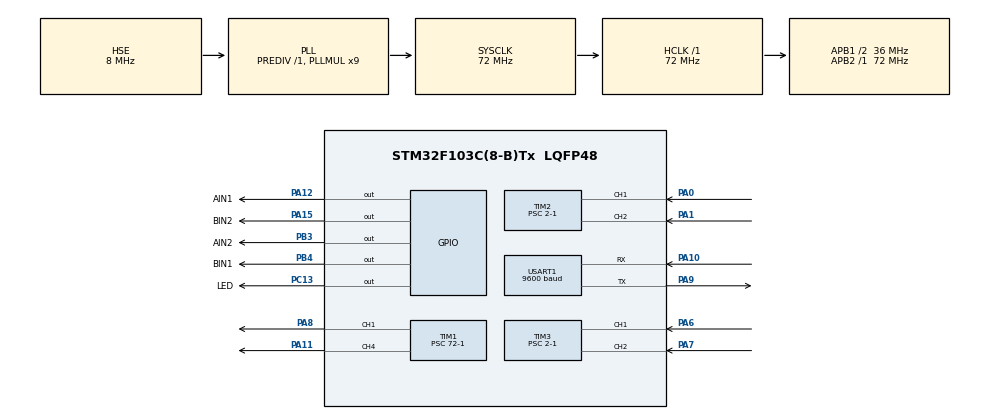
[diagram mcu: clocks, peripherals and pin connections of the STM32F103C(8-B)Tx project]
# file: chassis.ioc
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Dma.Request0=USART1_RX
Dma.Request1=USART1_TX
Dma.USART1_RX.0.Direction=DMA_PERIPH_TO_MEMORY
Dma.USART1_RX.0.Instance=DMA1_Channel5
Dma.USART1_RX.0.MemDataAlignment=DMA_MDATAALIGN_BYTE
Dma.USART1_RX.0.MemInc=DMA_MINC_ENABLE
Dma.USART1_RX.0.Mode=DMA_NORMAL
Dma.USART1_RX.0.PeriphDataAlignment=DMA_PDATAALIGN_BYTE
Dma.USART1_RX.0.PeriphInc=DMA_PINC_DISABLE
Dma.USART1_RX.0.Priority=DMA_PRIORITY_LOW
Dma.USART1_TX.1.Direction=DMA_MEMORY_TO_PERIPH
Dma.USART1_TX.1.Instance=DMA1_Channel4
Dma.USART1_TX.1.MemDataAlignment=DMA_MDATAALIGN_BYTE
Dma.USART1_TX.1.MemInc=DMA_MINC_ENABLE
Dma.USART1_TX.1.Mode=DMA_NORMAL
Dma.USART1_TX.1.PeriphDataAlignment=DMA_PDATAALIGN_BYTE
Dma.USART1_TX.1.PeriphInc=DMA_PINC_DISABLE
Dma.USART1_TX.1.Priority=DMA_PRIORITY_LOW
Mcu.Family=STM32F1
Mcu.Name=STM32F103C(8-B)Tx
Mcu.Package=LQFP48
NVIC.DMA1_Channel4_IRQn=true\:0\:0\:false\:false\:true\:false\:true\:true
NVIC.DMA1_Channel5_IRQn=true\:0\:0\:false\:false\:true\:false\:true\:true
NVIC.PriorityGroup=NVIC_PRIORITYGROUP_4
NVIC.TIM1_UP_IRQn=true\:0\:0\:false\:false\:true\:true\:true\:true
NVIC.TIM2_IRQn=true\:0\:0\:false\:false\:true\:true\:true\:true
NVIC.TIM3_IRQn=true\:0\:0\:false\:false\:true\:true\:true\:true
NVIC.USART1_IRQn=true\:0\:0\:false\:false\:true\:true\:true\:true
PA0-WKUP.Signal=S_TIM2_CH1_ETR
PA1.Signal=S_TIM2_CH2
PA10.Mode=Asynchronous
PA10.Signal=USART1_RX
PA11.Signal=S_TIM1_CH4
PA12.GPIO_Label=AIN1
PA12.Signal=GPIO_Output
PA13.Mode=Serial_Wire
PA13.Signal=SYS_JTMS-SWDIO
PA14.Mode=Serial_Wire
PA14.Signal=SYS_JTCK-SWCLK
PA15.GPIO_Label=BIN2
PA15.Signal=GPIO_Output
PA6.Signal=S_TIM3_CH1
PA7.Signal=S_TIM3_CH2
PA8.Signal=S_TIM1_CH1
PA9.Mode=Asynchronous
PA9.Signal=USART1_TX
PB3.GPIO_Label=AIN2
PB3.Signal=GPIO_Output
PB4.GPIO_Label=BIN1
PB4.Signal=GPIO_Output
PC13-TAMPER-RTC.GPIO_Label=LED
PC13-TAMPER-RTC.Signal=GPIO_Output
PD0-OSC_IN.Mode=HSE-External-Oscillator
PD0-OSC_IN.Signal=RCC_OSC_IN
PD1-OSC_OUT.Mode=HSE-External-Oscillator
PD1-OSC_OUT.Signal=RCC_OSC_OUT
ProjectManager.HeapSize=0x200
ProjectManager.StackSize=0x400
ProjectManager.TargetToolchain=STM32CubeIDE
RCC.AHBFreq_Value=72000000
RCC.APB1CLKDivider=RCC_HCLK_DIV2
RCC.APB1Freq_Value=36000000
RCC.APB1TimFreq_Value=72000000
RCC.APB2Freq_Value=72000000
RCC.APB2TimFreq_Value=72000000
RCC.HCLKFreq_Value=72000000
RCC.PLLMUL=RCC_PLL_MUL9
RCC.PLLSourceVirtual=RCC_PLLSOURCE_HSE
RCC.SYSCLKFreq_VALUE=72000000
RCC.SYSCLKSource=RCC_SYSCLKSOURCE_PLLCLK
RCC.USBFreq_Value=72000000
SH.S_TIM1_CH1.0=TIM1_CH1,PWM Generation1 CH1
SH.S_TIM1_CH4.0=TIM1_CH4,PWM Generation4 CH4
SH.S_TIM2_CH1_ETR.0=TIM2_CH1,Encoder_Interface
SH.S_TIM2_CH2.0=TIM2_CH2,Encoder_Interface
SH.S_TIM3_CH1.0=TIM3_CH1,Encoder_Interface
SH.S_TIM3_CH2.0=TIM3_CH2,Encoder_Interface
TIM1.Channel-PWM\ Generation1\ CH1=TIM_CHANNEL_1
TIM1.Channel-PWM\ Generation4\ CH4=TIM_CHANNEL_4
TIM1.Period=10000-1
TIM1.Prescaler=72-1
TIM2.Period=65535
TIM2.Prescaler=2-1
TIM3.Period=65535
TIM3.Prescaler=2-1
USART1.BaudRate=9600
USART1.VirtualMode=VM_ASYNC
VP_TIM1_VS_ClockSourceINT.Mode=Internal
board=custom

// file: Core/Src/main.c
/* USER CODE BEGIN Header */
/**
  ******************************************************************************
  * @file           : main.c
  * @brief          : Main program body
  ******************************************************************************
  * @attention
  *
  * Copyright (c) 2025 STMicroelectronics.
  * All rights reserved.
  *
  * This software is licensed under terms that can be found in the LICENSE file
  * in the root directory of this software component.
  * If no LICENSE file comes with this software, it is provided AS-IS.
  *
  ******************************************************************************
  */
/* USER CODE END Header */
#include "main.h"
#include "dma.h"
#include "tim.h"
#include "usart.h"
#include "gpio.h"

/* USER CODE BEGIN Includes */
#include<stdio.h>
#include <string.h>
/* USER CODE END Includes */

/* USER CODE BEGIN PTD */
typedef struct {
    uint32_t curtim;
    uint32_t pastim;
    uint32_t tim;
    float speed;
    uint8_t direction;
    float pid_out_date;
}motor;
typedef struct {//pid算法结构????
    float Kp; // 比例系数
    float Ki; // 积分系数
    float Kd; // 微分系数
    float target; // 目标????
    float error; // 当前误差
    float last_error; // 上一次误????
    float integral; // 积分
    float derivative; // 微分
    float output; // PID 输出
    float max_output;//????大输????
    float min_output;//????小输????
} PID_TypeDef;
typedef struct{
    float x;
    float y;
} bluetoothdata;
PID_TypeDef lm;//左轮子pid
PID_TypeDef rm;//右轮子pid
motor lift_motor;
motor right_motor;
uint8_t receivedate[11];
bluetoothdata receive;
float numl;
float numr;
/* USER CODE END PTD */

/* USER CODE BEGIN PD */
float PID_Calculate(PID_TypeDef *pid, float actual);
void motor_init();
void PID_Init(PID_TypeDef *pid, float Kp, float Ki, float Kd, float target);
void Set_Motor_PWM(TIM_HandleTypeDef *htim, uint32_t channel, float pwm);
/* USER CODE END PD */

void SystemClock_Config(void);

/* USER CODE BEGIN 0 */
//函数实现
void UART_Send_Float(UART_HandleTypeDef *huart, float value)
{
    char buffer[32];
    int length;
    length = sprintf(buffer, "%.6f", value);
    HAL_UART_Transmit(huart, (uint8_t*)buffer, length,100);
}
void HAL_TIM_PeriodElapsedCallback(TIM_HandleTypeDef *htim){
    if(htim==&htim1){
        uint32_t capture1=HAL_TIM_ReadCapturedValue(&htim2, TIM_CHANNEL_1);
        uint32_t capture2=HAL_TIM_ReadCapturedValue(&htim3, TIM_CHANNEL_1);
        lift_motor.curtim=capture1;
        right_motor.curtim=capture2;
        //左轮????
        if(__HAL_TIM_IS_TIM_COUNTING_DOWN(&htim2)==0){
            if(lift_motor.curtim>=lift_motor.pastim){
                lift_motor.tim=lift_motor.curtim-lift_motor.pastim;
            } else{
                //lift_motor.tim=(lift_motor.curtim+0xFFFF)-lift_motor.pastim;
            }
            lift_motor.direction=0;
        }
        else{
            if(lift_motor.curtim<=lift_motor.pastim){
                lift_motor.tim =lift_motor.pastim-lift_motor.curtim;
            }else {
                //lift_motor.tim = (lift_motor.pastim+0xFFFF)-lift_motor.curtim;
            }
            lift_motor.direction=1;
        }
        float kl;
        if(lift_motor.direction==0) {
            kl = (float) lift_motor.tim;
        }
        else{
            kl = -(float) lift_motor.tim;
        }
        //右轮????
        if(__HAL_TIM_IS_TIM_COUNTING_DOWN(&htim3)==0){
            if(right_motor.curtim>=right_motor.pastim){
                right_motor.tim=right_motor.curtim-right_motor.pastim;
            } else{
                //right_motor.tim=(right_motor.curtim+0xFFFF)-right_motor.pastim;
            }
            right_motor.direction=0;
        }
        else{
            if(right_motor.curtim<=right_motor.pastim){
                right_motor.tim =right_motor.pastim-right_motor.curtim;
            }else {
               // right_motor.tim = (right_motor.pastim+0xFFFF)-right_motor.curtim;
            }
            right_motor.direction=1;
        }
        float kr;
        if(right_motor.direction==0) {
            kr = (float) right_motor.tim;
        }
        else{
            kr = -(float) right_motor.tim;
        }
        //计算速度
        lift_motor.speed=60*(kl/700)/0.01;
        lift_motor.pastim=lift_motor.curtim;
        right_motor.speed=60*(kr/700)/0.01;
        right_motor.pastim=right_motor.curtim;
        lift_motor.pid_out_date= PID_Calculate(&lm,lift_motor.speed);
        right_motor.pid_out_date= PID_Calculate(&rm,right_motor.speed);
        //Set_Motor_PWM(&htim1,TIM_CHANNEL_1,lift_motor.pid_out_date);
        //Set_Motor_PWM(&htim1,TIM_CHANNEL_4,right_motor.pid_out_date);
    }
}
void motor_init(){//对左右轮参数进行初始????
    lift_motor.curtim=0;
    lift_motor.pastim=0;
    lift_motor.tim=0;
    lift_motor.direction=0;
    lift_motor.speed=0;
    right_motor.curtim=0;
    right_motor.pastim=0;
    right_motor.tim=0;
    right_motor.direction=0;
    right_motor.speed=0;
}
void PID_Init(PID_TypeDef *pid, float Kp, float Ki, float Kd, float target)//pid初始化函????
{
    pid->Kp = Kp;
    pid->Ki = Ki;
    pid->Kd = Kd;
    pid->target = target;
    pid->error = 0;
    pid->last_error = 0;
    pid->integral = 0;
    pid->derivative = 0;
    pid->output = 0;
    pid->max_output=200;
    pid->min_output=-200;
}
float PID_Calculate(PID_TypeDef *pid, float actual)//pid计算函数
{
    // 计算误差
    pid->error = pid->target - actual;

    // 计算积分
    pid->integral += pid->error;
    if(pid->integral>pid->max_output)pid->integral=pid->max_output;
    if(pid->integral<pid->min_output)pid->integral=pid->min_output;

    // 计算微分
    pid->derivative = pid->error - pid->last_error;

    // 计算 PID 输出
    pid->output = pid->Kp * pid->error + pid->Ki * pid->integral + pid->Kd * pid->derivative;

    //输出限幅
    if (pid->output > pid->max_output) pid->output = pid->max_output;
    if (pid->output < pid->min_output) pid->output = pid->min_output;

    // 更新上一次误????
    pid->last_error = pid->error;

    return pid->output;
}
// 设置电机PWM输出（带方向控制????
void Set_Motor_PWM(TIM_HandleTypeDef *htim, uint32_t channel, float pwm) {
    // 限制PWM范围
    //if (pwm > 400.0f) pwm = 400.0f;
    //else if (pwm < -400.0f) pwm = -400.0f;
if(channel==TIM_CHANNEL_4) {
    // 设置方向
    if (pwm >= 0) {
        HAL_GPIO_WritePin(BIN1_GPIO_Port, BIN1_Pin, GPIO_PIN_RESET);   // 反转
        HAL_GPIO_WritePin(BIN2_GPIO_Port, BIN2_Pin, GPIO_PIN_SET);
    } else {
        HAL_GPIO_WritePin(BIN1_GPIO_Port, BIN1_Pin, GPIO_PIN_SET); // 正转
        HAL_GPIO_WritePin(BIN2_GPIO_Port, BIN2_Pin, GPIO_PIN_RESET);
        pwm = -pwm;  // 取绝对???
    }
    // 计算PWM占空比（假设ARR=999，对????100%占空比）
    uint32_t pulse = (uint32_t) (10000 * pwm / 60); //????大???是700，pwm/700就是百分比，然后再导????65535的分辨率中输????
    //Send_uint32_t_in_char(&huart2,pulse);
//    __HAL_TIM_SET_COMPARE(&htim1, TIM_CHANNEL_4, pulse);
//    __HAL_TIM_SET_COMPARE(&htim1, TIM_CHANNEL_1, pulse);
}
else{
    // 设置方向
    if (pwm >= 0) {
        HAL_GPIO_WritePin(AIN1_GPIO_Port, AIN1_Pin, GPIO_PIN_SET);   // 反转
        HAL_GPIO_WritePin(AIN2_GPIO_Port, AIN2_Pin, GPIO_PIN_RESET);
    } else {
        HAL_GPIO_WritePin(AIN1_GPIO_Port, AIN1_Pin, GPIO_PIN_RESET); // 正转
        HAL_GPIO_WritePin(AIN2_GPIO_Port, AIN2_Pin, GPIO_PIN_SET);
        pwm = -pwm;  // 取绝对???
    }
    // 计算PWM占空比（假设ARR=999，对????100%占空比）
    uint32_t pulse = (uint32_t) (10000 * pwm / 60); //????大???是700，pwm/700就是百分比，然后再导????65535的分辨率中输????
    //Send_uint32_t_in_char(&huart2,pulse);
    __HAL_TIM_SET_COMPARE(&htim1, TIM_CHANNEL_4, pulse);
    __HAL_TIM_SET_COMPARE(&htim1, TIM_CHANNEL_1, pulse);
}
}
uint8_t calculate_checksum(const uint8_t* data,uint8_t length){
    uint8_t sum=0;
    for(uint8_t i=0;i<length;i++){
        sum+=data[i];
    }
    return sum;
}
void HAL_UART_RxCpltCallback(UART_HandleTypeDef *huart){
    if(receivedate[0]==0xA5&&receivedate[10]==0x5A){
            if(receivedate[9]== calculate_checksum(&receivedate[1],8)) {
                memcpy(&receive.x, &receivedate[1], 4);
                memcpy(&receive.y, &receivedate[5], 4);
                HAL_GPIO_WritePin(LED_GPIO_Port,LED_Pin,GPIO_PIN_RESET);
            }
        }//这一部分是蓝牙的通讯协议
   // HAL_GPIO_WritePin(LED_GPIO_Port,LED_Pin,GPIO_PIN_RESET);
    HAL_UART_Receive_DMA(&huart1, receivedate, sizeof(receivedate));//开启DMA接收中断

}
/* USER CODE END 0 */

int main(void)
{

  /* MCU Configuration--------------------------------------------------------*/

  /* Reset of all peripherals, Initializes the Flash interface and the Systick. */
  HAL_Init();

  /* Configure the system clock */
  SystemClock_Config();

  /* Initialize all configured peripherals */
  MX_GPIO_Init();
  MX_DMA_Init();
  MX_TIM1_Init();
  MX_TIM2_Init();
  MX_TIM3_Init();
  MX_USART1_UART_Init();
  /* USER CODE BEGIN 2 */
    motor_init();
    //HAL_TIM_Base_Start_IT(&htim1);//启动定时器
    HAL_TIM_Encoder_Start(&htim2,TIM_CHANNEL_ALL);
    HAL_TIM_Encoder_Start(&htim3,TIM_CHANNEL_ALL);
    PID_Init(&lm,0.4,0.3,0.2,64);
    PID_Init(&rm,0.4,0.3,0.2,0);
    HAL_TIM_PWM_Start(&htim1, TIM_CHANNEL_4);
    HAL_TIM_PWM_Start(&htim1, TIM_CHANNEL_1);
    HAL_UART_Receive_DMA(&huart1, receivedate, sizeof(receivedate));//开启DMA接收中断
  /* USER CODE END 2 */

  /* Infinite loop */
  /* USER CODE BEGIN WHILE */
  while (1)
  {
      HAL_GPIO_WritePin(LED_GPIO_Port,LED_Pin,GPIO_PIN_RESET);

      float nl,nr;
      nl=receive.y+receive.x;
      nr=receive.y-receive.x;
     if(nl>140){
         nl=140;
     }
     if(nr>140){
         nr=140;
     }
      float lift,right;
      lift=10000*((nl)/140);
      right=10000*((nr)/140);
      if(lift<0){
          HAL_GPIO_WritePin(BIN1_GPIO_Port, BIN1_Pin, GPIO_PIN_SET);   // 反转
          HAL_GPIO_WritePin(BIN2_GPIO_Port, BIN2_Pin, GPIO_PIN_RESET);
          lift=-lift;
      }
      else{
          HAL_GPIO_WritePin(BIN1_GPIO_Port, BIN1_Pin, GPIO_PIN_RESET);   // 正转
          HAL_GPIO_WritePin(BIN2_GPIO_Port, BIN2_Pin, GPIO_PIN_SET);

      }
      if(right<0){
          HAL_GPIO_WritePin(AIN1_GPIO_Port, AIN1_Pin, GPIO_PIN_SET);   // 反转
          HAL_GPIO_WritePin(AIN2_GPIO_Port, AIN2_Pin, GPIO_PIN_RESET);
          right=-right;
      }
      else{
          HAL_GPIO_WritePin(AIN1_GPIO_Port, AIN1_Pin, GPIO_PIN_RESET);   // 正转
          HAL_GPIO_WritePin(AIN2_GPIO_Port, AIN2_Pin, GPIO_PIN_SET);

      }
      __HAL_TIM_SET_COMPARE(&htim1, TIM_CHANNEL_4, lift);
      __HAL_TIM_SET_COMPARE(&htim1, TIM_CHANNEL_1, right);
      ///下面这一段是往复循环移动的小车的代码
//      HAL_GPIO_WritePin(BIN1_GPIO_Port, BIN1_Pin, GPIO_PIN_SET);   // 反转
//      HAL_GPIO_WritePin(BIN2_GPIO_Port, BIN2_Pin, GPIO_PIN_RESET);
//      HAL_GPIO_WritePin(AIN1_GPIO_Port, AIN1_Pin, GPIO_PIN_SET);   // 反转
//      HAL_GPIO_WritePin(AIN2_GPIO_Port, AIN2_Pin, GPIO_PIN_RESET);
//      __HAL_TIM_SET_COMPARE(&htim1, TIM_CHANNEL_4, 5200);
//      __HAL_TIM_SET_COMPARE(&htim1, TIM_CHANNEL_1, 4500);
//      HAL_Delay(3000);
//      HAL_GPIO_WritePin(BIN1_GPIO_Port, BIN1_Pin, GPIO_PIN_RESET);   // 反转
//      HAL_GPIO_WritePin(BIN2_GPIO_Port, BIN2_Pin, GPIO_PIN_SET);
//      HAL_GPIO_WritePin(AIN1_GPIO_Port, AIN1_Pin, GPIO_PIN_RESET);   // 反转
//      HAL_GPIO_WritePin(AIN2_GPIO_Port, AIN2_Pin, GPIO_PIN_SET);
//      __HAL_TIM_SET_COMPARE(&htim1, TIM_CHANNEL_4, 0);
//      __HAL_TIM_SET_COMPARE(&htim1, TIM_CHANNEL_1, 0);
//      HAL_Delay(500);
//      HAL_GPIO_WritePin(BIN1_GPIO_Port, BIN1_Pin, GPIO_PIN_RESET);   // 反转
//      HAL_GPIO_WritePin(BIN2_GPIO_Port, BIN2_Pin, GPIO_PIN_SET);
//      HAL_GPIO_WritePin(AIN1_GPIO_Port, AIN1_Pin, GPIO_PIN_RESET);   // 反转
//      HAL_GPIO_WritePin(AIN2_GPIO_Port, AIN2_Pin, GPIO_PIN_SET);
//      __HAL_TIM_SET_COMPARE(&htim1, TIM_CHANNEL_4, 5200);
//      __HAL_TIM_SET_COMPARE(&htim1, TIM_CHANNEL_1, 4500);
//      HAL_Delay(3000);
//      HAL_GPIO_WritePin(BIN1_GPIO_Port, BIN1_Pin, GPIO_PIN_SET);   // 反转
//      HAL_GPIO_WritePin(BIN2_GPIO_Port, BIN2_Pin, GPIO_PIN_RESET);
//      HAL_GPIO_WritePin(AIN1_GPIO_Port, AIN1_Pin, GPIO_PIN_SET);   // 反转
//      HAL_GPIO_WritePin(AIN2_GPIO_Port, AIN2_Pin, GPIO_PIN_RESET);
//      __HAL_TIM_SET_COMPARE(&htim1, TIM_CHANNEL_4, 0);
//      __HAL_TIM_SET_COMPARE(&htim1, TIM_CHANNEL_1, 0);
//      HAL_Delay(500);

//      numl=receive.x-receive.y;
//      numr=receive.x+receive.y;
//      if(numl>140){
//          numl=140;
//      }
//      else if(numl<-140){
//          numl=-140;
//      }
//      if(numr>140){
//          numr=140;
//      }
//      else if(numr<-140){
//          numr=-140;
//      }
      //PID_Init(&lm,0.7,0,0,-numl);
      //PID_Init(&rm,0.7,0,0,-numr);
//      float pl,pr;
//      pl=-(numl/140)*65535;
//      pr=-(numr/140)*65535;
//      Set_Motor_PWM(&htim1,TIM_CHANNEL_1,pl);
//      Set_Motor_PWM(&htim1,TIM_CHANNEL_4,pr);
    /* USER CODE END WHILE */

  }
}

void SystemClock_Config(void)
{
  RCC_OscInitTypeDef RCC_OscInitStruct = {0};
  RCC_ClkInitTypeDef RCC_ClkInitStruct = {0};

  /** Initializes the RCC Oscillators according to the specified parameters
  * in the RCC_OscInitTypeDef structure.
  */
  RCC_OscInitStruct.OscillatorType = RCC_OSCILLATORTYPE_HSE;
  RCC_OscInitStruct.HSEState = RCC_HSE_ON;
  RCC_OscInitStruct.HSEPredivValue = RCC_HSE_PREDIV_DIV1;
  RCC_OscInitStruct.HSIState = RCC_HSI_ON;
  RCC_OscInitStruct.PLL.PLLState = RCC_PLL_ON;
  RCC_OscInitStruct.PLL.PLLSource = RCC_PLLSOURCE_HSE;
  RCC_OscInitStruct.PLL.PLLMUL = RCC_PLL_MUL9;
  if (HAL_RCC_OscConfig(&RCC_OscInitStruct) != HAL_OK)
  {
    Error_Handler();
  }

  /** Initializes the CPU, AHB and APB buses clocks
  */
  RCC_ClkInitStruct.ClockType = RCC_CLOCKTYPE_HCLK|RCC_CLOCKTYPE_SYSCLK
                              |RCC_CLOCKTYPE_PCLK1|RCC_CLOCKTYPE_PCLK2;
  RCC_ClkInitStruct.SYSCLKSource = RCC_SYSCLKSOURCE_PLLCLK;
  RCC_ClkInitStruct.AHBCLKDivider = RCC_SYSCLK_DIV1;
  RCC_ClkInitStruct.APB1CLKDivider = RCC_HCLK_DIV2;
  RCC_ClkInitStruct.APB2CLKDivider = RCC_HCLK_DIV1;

  if (HAL_RCC_ClockConfig(&RCC_ClkInitStruct, FLASH_LATENCY_2) != HAL_OK)
  {
    Error_Handler();
  }
}

void Error_Handler(void)
{
  __disable_irq();
  while (1)
  {
  }
}
